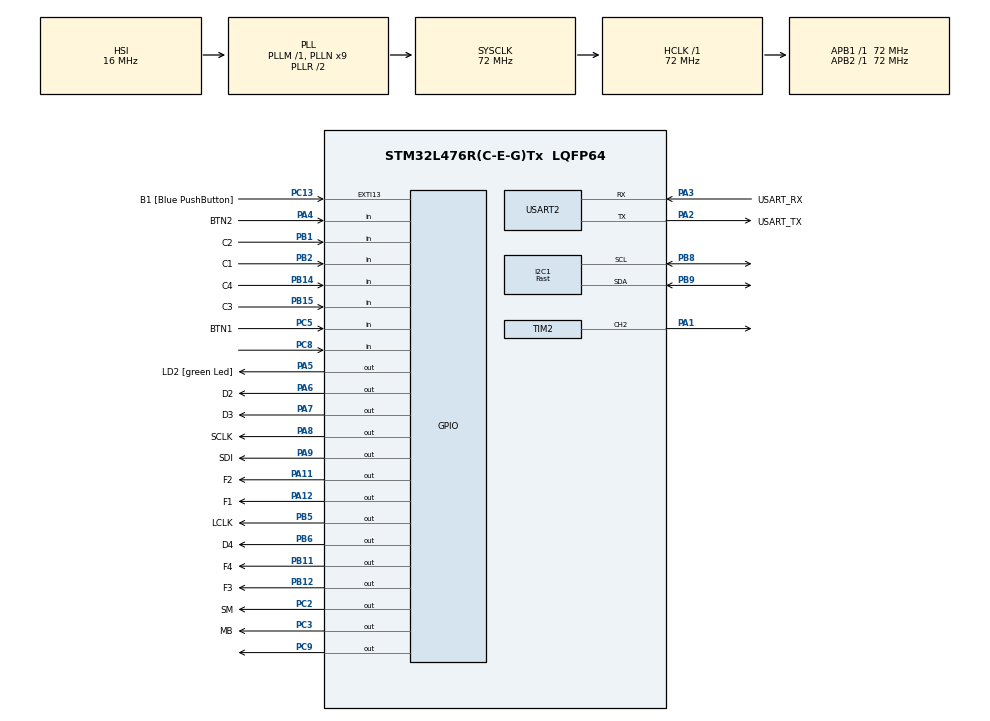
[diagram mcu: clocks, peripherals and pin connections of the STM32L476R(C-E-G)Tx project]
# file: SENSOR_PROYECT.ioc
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I2C1.I2C_Speed_Mode=I2C_Fast
I2C1.Timing=0x00702681
Mcu.Family=STM32L4
Mcu.Name=STM32L476R(C-E-G)Tx
Mcu.Package=LQFP64
NVIC.PriorityGroup=NVIC_PRIORITYGROUP_4
NVIC.TIM2_IRQn=true\:0\:0\:false\:false\:true\:true\:true\:true
NVIC.TIM4_IRQn=true\:0\:0\:false\:false\:true\:true\:true\:true
PA1.Signal=S_TIM2_CH2
PA11.GPIO_Label=F2
PA11.Signal=GPIO_Output
PA12.GPIO_Label=F1
PA12.Signal=GPIO_Output
PA13\ (JTMS-SWDIO).GPIO_Label=TMS
PA13\ (JTMS-SWDIO).Mode=Serial_Wire
PA13\ (JTMS-SWDIO).Signal=SYS_JTMS-SWDIO
PA14\ (JTCK-SWCLK).GPIO_Label=TCK
PA14\ (JTCK-SWCLK).Mode=Serial_Wire
PA14\ (JTCK-SWCLK).Signal=SYS_JTCK-SWCLK
PA2.GPIO_Label=USART_TX
PA2.GPIO_Mode=GPIO_MODE_AF_PP
PA2.GPIO_PuPd=GPIO_NOPULL
PA2.GPIO_Speed=GPIO_SPEED_FREQ_VERY_HIGH
PA2.Mode=Asynchronous
PA2.Signal=USART2_TX
PA3.GPIO_Label=USART_RX
PA3.GPIO_Mode=GPIO_MODE_AF_PP
PA3.GPIO_PuPd=GPIO_NOPULL
PA3.GPIO_Speed=GPIO_SPEED_FREQ_VERY_HIGH
PA3.Mode=Asynchronous
PA3.Signal=USART2_RX
PA4.GPIO_Label=BTN2
PA4.Signal=GPIO_Input
PA5.GPIO_Label=LD2 [green Led]
PA5.GPIO_ModeDefaultOutputPP=GPIO_MODE_OUTPUT_PP
PA5.GPIO_PuPd=GPIO_NOPULL
PA5.GPIO_Speed=GPIO_SPEED_FREQ_LOW
PA5.Signal=GPIO_Output
PA6.GPIO_Label=D2
PA6.Signal=GPIO_Output
PA7.GPIO_Label=D3
PA7.Signal=GPIO_Output
PA8.GPIO_Label=SCLK
PA8.Signal=GPIO_Output
PA9.GPIO_Label=SDI
PA9.Signal=GPIO_Output
PB1.GPIO_Label=C2
PB1.GPIO_PuPd=GPIO_PULLUP
PB1.Signal=GPIO_Input
PB11.GPIO_Label=F4
PB11.Signal=GPIO_Output
PB12.GPIO_Label=F3
PB12.Signal=GPIO_Output
PB14.GPIO_Label=C4
PB14.GPIO_PuPd=GPIO_PULLUP
PB14.Signal=GPIO_Input
PB15.GPIO_Label=C3
PB15.GPIO_PuPd=GPIO_PULLUP
PB15.Signal=GPIO_Input
PB2.GPIO_Label=C1
PB2.GPIO_PuPd=GPIO_PULLUP
PB2.Signal=GPIO_Input
PB3\ (JTDO-TRACESWO).GPIO_Label=SWO
PB3\ (JTDO-TRACESWO).Signal=SYS_JTDO-SWO
PB5.GPIO_Label=LCLK
PB5.Signal=GPIO_Output
PB6.GPIO_Label=D4
PB6.Signal=GPIO_Output
PB8.Mode=I2C
PB8.Signal=I2C1_SCL
PB9.Mode=I2C
PB9.Signal=I2C1_SDA
PC13.GPIO_Label=B1 [Blue PushButton]
PC13.GPIO_ModeDefaultEXTI=GPIO_MODE_IT_FALLING
PC13.GPIO_PuPd=GPIO_NOPULL
PC13.Signal=GPXTI13
PC14-OSC32_IN\ (PC14).Signal=RCC_OSC32_IN
PC15-OSC32_OUT\ (PC15).Signal=RCC_OSC32_OUT
PC2.GPIO_Label=SM
PC2.Signal=GPIO_Output
PC3.GPIO_Label=MB
PC3.Signal=GPIO_Output
PC5.GPIO_Label=BTN1
PC5.Signal=GPIO_Input
PC8.Signal=GPIO_Input
PC9.Signal=GPIO_Output
PH0-OSC_IN\ (PH0).Mode=HSE-External-Oscillator
PH0-OSC_IN\ (PH0).Signal=RCC_OSC_IN
PH1-OSC_OUT\ (PH1).Mode=HSE-External-Oscillator
PH1-OSC_OUT\ (PH1).Signal=RCC_OSC_OUT
ProjectManager.HeapSize=0x200
ProjectManager.StackSize=0x400
ProjectManager.TargetToolchain=STM32CubeIDE
RCC.ADCFreq_Value=64000000
RCC.AHBFreq_Value=72000000
RCC.APB1Freq_Value=72000000
RCC.APB1TimFreq_Value=72000000
RCC.APB2Freq_Value=72000000
RCC.APB2TimFreq_Value=72000000
RCC.CortexFreq_Value=72000000
RCC.HCLKFreq_Value=72000000
RCC.HSE_VALUE=8000000
RCC.HSI_VALUE=16000000
RCC.LSE_VALUE=32768
RCC.MSI_VALUE=4000000
RCC.PLLN=9
RCC.PLLSourceVirtual=RCC_PLLSOURCE_HSI
RCC.PREFETCH_ENABLE=1
RCC.SYSCLKFreq_VALUE=72000000
RCC.SYSCLKSource=RCC_SYSCLKSOURCE_PLLCLK
RCC.USBFreq_Value=64000000
RCC.VCOOutputFreq_Value=144000000
SH.S_TIM2_CH2.0=TIM2_CH2,PWM Generation2 CH2
TIM1.Prescaler=71
TIM2.Channel-PWM\ Generation2\ CH2=TIM_CHANNEL_2
TIM2.Period=625
TIM2.Prescaler=127
USART2.VirtualMode-Asynchronous=VM_ASYNC
VP_TIM1_VS_ClockSourceINT.Mode=Internal
VP_TIM2_VS_ClockSourceINT.Mode=Internal
VP_TIM4_VS_ClockSourceINT.Mode=Internal
board=NUCLEO-L476RG

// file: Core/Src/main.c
/* USER CODE BEGIN Header */
/**
 ******************************************************************************
 * @file           : main.c
 * @brief          : Main program body
 ******************************************************************************
 * @attention
 *
 * Copyright (c) 2022 STMicroelectronics.
 * All rights reserved.
 *
 * This software is licensed under terms that can be found in the LICENSE file
 * in the root directory of this software component.
 * If no LICENSE file comes with this software, it is provided AS-IS.
 *
 ******************************************************************************
 */
/* USER CODE END Header */
#include "main.h"

/* USER CODE BEGIN Includes */
#include "fonts.h"
#include "ssd1306.h"
#include "stdio.h"
#include <stdbool.h>
#include <string.h>
#include "bitmap.h"
/* USER CODE END Includes */

I2C_HandleTypeDef hi2c1;

TIM_HandleTypeDef htim1;
TIM_HandleTypeDef htim2;
TIM_HandleTypeDef htim4;

UART_HandleTypeDef huart2;

/* USER CODE BEGIN PV */
#define TRIG_PIN GPIO_PIN_9
#define TRIG_PORT GPIOC
#define ECHO_PIN GPIO_PIN_8
#define ECHO_PORT GPIOC
#define pin_led GPIO_PIN_1
#define pin_ledport GPIOA
uint32_t pMillis;
uint32_t Value1 = 0;
uint32_t Value2 = 0;
uint16_t Distance = 0;  // cm

const uint8_t numLecturas = 10;
uint8_t lecturas[10]; // Array para almacenar lecturas

// Distancia a los 100 ml y vacío
const uint16_t distancia100 = 2.15;
const uint16_t distanciaVacio = 11.41;

uint16_t distanciaLleno = 0;
uint16_t cantidadLiquido = 0;
int porcentaje = 0;
uint16_t lecturaActual = 0; // Lectura por la que vamos
uint16_t total = 0; // Total de las que llevamos
uint16_t media = 0; // Media de las medidas
uint32_t DETECTAR_LIM = 0;
bool primeraMedia = false; // Para saber que ya hemos calculado por lo menos una

char strCopy[15];

const uint8_t seven_seg_digits_decode_abcdefg[75] = {
/*  0     1     2     3     4     5     6     7     8     9     :     ;     */
0x7E, 0x30, 0x6D, 0x79, 0x33, 0x5B, 0x5F, 0x70, 0x7F, 0x7B, 0x40, 0x20,
/*  <     =     >     ?     @     A     B     C     D     E     F     G     */
0x10, 0x00, 0x04, 0x02, 0x01, 0x77, 0x1F, 0x4E, 0x3D, 0x4F, 0x47, 0x5E,
/*  H     I     J     K     L     M     N     O     P     Q     R     S     */
0x37, 0x06, 0x3C, 0x57, 0x0E, 0x55, 0x15, 0x7E, 0x67, 0x73, 0x05, 0x5B,
/*  T     U     V     W     X     Y     Z     [     \     ]     ^     _     */
0x0F, 0x3E, 0x1C, 0x5C, 0x13, 0x3B, 0x6D, 0x02, 0x04, 0x08, 0x10, 0x20,
/*  `     a     b     c     d     e     f     g     h     i     j     k     */
0x40, 0x77, 0x1F, 0x4E, 0x3D, 0x4F, 0x47, 0x5E, 0x37, 0x06, 0x3C, 0x57,
/*  l     m     n     o     p     q     r     s     t     u     v     w     */
0x0E, 0x55, 0x15, 0x1D, 0x67, 0x73, 0x05, 0x5B, 0x0F, 0x3E, 0x1C, 0x5C,
/*  x     y     z     */
0x13, 0x3B, 0x6D };

/* USER CODE END PV */

void SystemClock_Config(void);
static void MX_GPIO_Init(void);
static void MX_I2C1_Init(void);
static void MX_TIM1_Init(void);
static void MX_TIM2_Init(void);
static void MX_USART2_UART_Init(void);
static void MX_TIM4_Init(void);
/* USER CODE BEGIN PFP */
void Write_D4_FSM(uint32_t current_tick, uint32_t wait, uint8_t *Msg);
void Write_ASCII_D4(uint8_t letter, uint8_t Digit, const uint8_t *Data);

/* USER CODE END PFP */

/* USER CODE BEGIN 0 */
static uint32_t Confirmar_lectura = 0;
static uint32_t DETECTAR_CLICK = 0;
static uint32_t DETECTAR_CLICK2 = 0;
char KeyPad_Read(void) {

	static uint8_t Char;
	static uint32_t cont = 0;
	static uint32_t lastTick = 0;
	if (HAL_GetTick() - lastTick > 700) {
		HAL_GPIO_WritePin(F1_GPIO_Port, F1_Pin, GPIO_PIN_RESET);
		HAL_GPIO_WritePin(F2_GPIO_Port, F2_Pin, GPIO_PIN_SET);
		HAL_GPIO_WritePin(F3_GPIO_Port, F3_Pin, GPIO_PIN_SET);
		HAL_GPIO_WritePin(F4_GPIO_Port, F4_Pin, GPIO_PIN_SET);

		if (!(HAL_GPIO_ReadPin(C1_GPIO_Port, C1_Pin))) {
			if (!(HAL_GPIO_ReadPin(C1_GPIO_Port, C1_Pin)))
				;
			Confirmar_lectura = 1;
			Char = '1';
		} else {
			cont = cont + 1;
		}

		if (!(HAL_GPIO_ReadPin(C2_GPIO_Port, C2_Pin))) {
			if (!(HAL_GPIO_ReadPin(C2_GPIO_Port, C2_Pin)))
				;
			Confirmar_lectura = 1;
			Char = '2';
		} else {
			cont = cont + 1;
		}

		if (!(HAL_GPIO_ReadPin(C3_GPIO_Port, C3_Pin))) {
			if (!(HAL_GPIO_ReadPin(C3_GPIO_Port, C3_Pin)))
				;
			Confirmar_lectura = 1;
			Char = '3';
		} else {
			cont = cont + 1;
		}

		if (!(HAL_GPIO_ReadPin(C4_GPIO_Port, C4_Pin))) {
			if (!(HAL_GPIO_ReadPin(C4_GPIO_Port, C4_Pin)))
				;
			Confirmar_lectura = 1;
			Char = 'A';
		} else {
			cont = cont + 1;
		}

		//--------------------------------------------------------------
		HAL_GPIO_WritePin(F1_GPIO_Port, F1_Pin, GPIO_PIN_SET);
		HAL_GPIO_WritePin(F2_GPIO_Port, F2_Pin, GPIO_PIN_RESET);
		HAL_GPIO_WritePin(F3_GPIO_Port, F3_Pin, GPIO_PIN_SET);
		HAL_GPIO_WritePin(F4_GPIO_Port, F4_Pin, GPIO_PIN_SET);

		if (!(HAL_GPIO_ReadPin(C1_GPIO_Port, C1_Pin))) {
			if (!(HAL_GPIO_ReadPin(C1_GPIO_Port, C1_Pin)))
				;
			Confirmar_lectura = 1;
			Char = '4';
		} else {
			cont = cont + 1;
		}

		if (!(HAL_GPIO_ReadPin(C2_GPIO_Port, C2_Pin))) {
			if (!(HAL_GPIO_ReadPin(C2_GPIO_Port, C2_Pin)))
				;
			Confirmar_lectura = 1;
			Char = '5';
		} else {
			cont = cont + 1;
		}

		if (!(HAL_GPIO_ReadPin(C3_GPIO_Port, C3_Pin))) {
			if (!(HAL_GPIO_ReadPin(C3_GPIO_Port, C3_Pin)))
				;
			Char = '6';
		} else {
			cont = cont + 1;
		}

		if (!(HAL_GPIO_ReadPin(C4_GPIO_Port, C4_Pin))) {
			if (!(HAL_GPIO_ReadPin(C4_GPIO_Port, C4_Pin)))
				;
			Confirmar_lectura = 1;
			Char = 'B';
		} else {

			cont = cont + 1;
		}
		//--------------------------------------------------------------
		HAL_GPIO_WritePin(F1_GPIO_Port, F1_Pin, GPIO_PIN_SET);
		HAL_GPIO_WritePin(F2_GPIO_Port, F2_Pin, GPIO_PIN_SET);
		HAL_GPIO_WritePin(F3_GPIO_Port, F3_Pin, GPIO_PIN_RESET);
		HAL_GPIO_WritePin(F4_GPIO_Port, F4_Pin, GPIO_PIN_SET);

		if (!(HAL_GPIO_ReadPin(C1_GPIO_Port, C1_Pin))) {
			if (!(HAL_GPIO_ReadPin(C1_GPIO_Port, C1_Pin)))
				;
			Confirmar_lectura = 1;
			Char = '7';
		} else {
			cont = cont + 1;
		}

		if (!(HAL_GPIO_ReadPin(C2_GPIO_Port, C2_Pin))) {
			if (!(HAL_GPIO_ReadPin(C2_GPIO_Port, C2_Pin)))
				;
			Confirmar_lectura = 1;
			Char = '8';
		} else {
			cont = cont + 1;
		}

		if (!(HAL_GPIO_ReadPin(C3_GPIO_Port, C3_Pin))) {
			if (!(HAL_GPIO_ReadPin(C3_GPIO_Port, C3_Pin)))
				;
			Confirmar_lectura = 1;
			Char = '9';
		} else {
			cont = cont + 1;
		}

		if (!(HAL_GPIO_ReadPin(C4_GPIO_Port, C4_Pin))) {
			if (!(HAL_GPIO_ReadPin(C4_GPIO_Port, C4_Pin)))
				;
			Confirmar_lectura = 1;
			Char = 'C';
		} else {

			cont = cont + 1;
		}

		//--------------------------------------------------------------
		HAL_GPIO_WritePin(F1_GPIO_Port, F1_Pin, GPIO_PIN_SET);
		HAL_GPIO_WritePin(F2_GPIO_Port, F2_Pin, GPIO_PIN_SET);
		HAL_GPIO_WritePin(F3_GPIO_Port, F3_Pin, GPIO_PIN_SET);
		HAL_GPIO_WritePin(F4_GPIO_Port, F4_Pin, GPIO_PIN_RESET);

		if (!(HAL_GPIO_ReadPin(C1_GPIO_Port, C1_Pin))) {
			if (!(HAL_GPIO_ReadPin(C1_GPIO_Port, C1_Pin)))
				;
			Confirmar_lectura = 1;
			Char = 'E';
		} else {
			cont = cont + 1;
		}

		if (!(HAL_GPIO_ReadPin(C2_GPIO_Port, C2_Pin))) {
			if (!(HAL_GPIO_ReadPin(C2_GPIO_Port, C2_Pin)))
				;
			Confirmar_lectura = 1;
			Char = '0';
		} else {
			cont = cont + 1;
		}

		if (!(HAL_GPIO_ReadPin(C3_GPIO_Port, C3_Pin))) {
			if (!(HAL_GPIO_ReadPin(C3_GPIO_Port, C3_Pin)))
				;
			Confirmar_lectura = 1;
			Char = 'H';
		} else {
			cont = cont + 1;
		}

		if (!(HAL_GPIO_ReadPin(C4_GPIO_Port, C4_Pin))) {
			if (!(HAL_GPIO_ReadPin(C4_GPIO_Port, C4_Pin)))
				;
			Confirmar_lectura = 1;
			Char = 'D';
		} else {
			cont = cont + 1;
		}
		if (cont == 16) {
			cont = 0;
			if (Confirmar_lectura == 1) {
				Confirmar_lectura = 0;
				return Char;
			}
		} else {
			cont = 0;
		}
	}

	return 'G';
}
uint8_t msg[5] = "====";
uint8_t msg3[5] = "====";
uint8_t ContraCifrada[5] = "====";
uint8_t Contra[5] = "0000";
static uint32_t Estados = 2;
void LECTURA_BTN(void)

{

	static uint32_t VARIABLE_COMPROBAR_CLICK = 0; // VARIABLE PARA IMPLEMENTAR MAQUINA DE ESTADOS CON EL BOTON
	// LECTURA DEL PIN DEL BOTON LOGICA INVERSA
	uint32_t LECTURA_PUERTO_BOTON = HAL_GPIO_ReadPin(BTN1_GPIO_Port, BTN1_Pin); // LEEMOS TODO EL PUERTO C QUE ES EL DEL BOTON

	// EVALUAMOS CONDICIONES
	if (LECTURA_PUERTO_BOTON != 0) {

		// EVALUO SI YA HABIA SIDO PRESIONADO
		if (VARIABLE_COMPROBAR_CLICK == 1) {
			// SI FUE PRESIONADO PONGO LA VARIABLE DE ESTADO EN CERO PARA INDICAR QUE YA SE EJECUTO LA ACCION DESEADA
			VARIABLE_COMPROBAR_CLICK = 0;
			DETECTAR_CLICK = 1; // REVISO EL TIEMPO ACTUAL PARA COMPARAR DESDE EL TIEMPO EN QUE SE PRESIONO

		}
	} else {
		// COMPROBAMOS EL PRIMER CLICK
		if (VARIABLE_COMPROBAR_CLICK == 0) {
			VARIABLE_COMPROBAR_CLICK = 1; // CAMBIO EL VALOR DE LA VARIABLE DE ESTADO A UNO PARA INDICAR QUE SE PRESIONO
		}
		//LL_GPIO_SetOutputPin(LED2_GPIO_PORT, LED2_PIN);

	}

}
void LECTURA_BTN2(void)

{

	static uint32_t VARIABLE_COMPROBAR_CLICK = 0; // VARIABLE PARA IMPLEMENTAR MAQUINA DE ESTADOS CON EL BOTON
	// LECTURA DEL PIN DEL BOTON LOGICA INVERSA
	uint32_t LECTURA_PUERTO_BOTON = HAL_GPIO_ReadPin(BTN2_GPIO_Port, BTN2_Pin); // LEEMOS TODO EL PUERTO C QUE ES EL DEL BOTON

	// EVALUAMOS CONDICIONES
	if (LECTURA_PUERTO_BOTON != 0) {

		// EVALUO SI YA HABIA SIDO PRESIONADO
		if (VARIABLE_COMPROBAR_CLICK == 1) {
			// SI FUE PRESIONADO PONGO LA VARIABLE DE ESTADO EN CERO PARA INDICAR QUE YA SE EJECUTO LA ACCION DESEADA
			VARIABLE_COMPROBAR_CLICK = 0;
			DETECTAR_CLICK2 = 1; // REVISO EL TIEMPO ACTUAL PARA COMPARAR DESDE EL TIEMPO EN QUE SE PRESIONO

		}
	} else {
		// COMPROBAMOS EL PRIMER CLICK
		if (VARIABLE_COMPROBAR_CLICK == 0) {
			VARIABLE_COMPROBAR_CLICK = 1; // CAMBIO EL VALOR DE LA VARIABLE DE ESTADO A UNO PARA INDICAR QUE SE PRESIONO
		}
		//LL_GPIO_SetOutputPin(LED2_GPIO_PORT, LED2_PIN);

	}

}
void Write_D4_FSM(uint32_t current_tick, uint32_t wait, uint8_t *Msg) {
	static uint32_t last_tick = 0;
	static uint32_t state = 0, next_state = 0;

	static uint8_t i = 0;

	if (current_tick - last_tick > wait) {
		if (state == 0) {
			Write_ASCII_D4((Msg[i] - 0x30), 4, seven_seg_digits_decode_abcdefg);
			next_state = state + 1;
		}
		if (state == 1) {
			Write_ASCII_D4((Msg[i + 1] - 0x30), 3,
					seven_seg_digits_decode_abcdefg);
			next_state = state + 1;
		}
		if (state == 2) {
			Write_ASCII_D4(Msg[i + 2] - 0x30, 2,
					seven_seg_digits_decode_abcdefg);
			next_state = state + 1;
		}
		if (state == 3) {
			Write_ASCII_D4(Msg[i + 3] - 0x30, 1,
					seven_seg_digits_decode_abcdefg);
			next_state = 0;
		}
		state = next_state;
		last_tick = current_tick;
	}
}

void Write_ASCII_D4(uint8_t letter, uint8_t Digit, const uint8_t *Data) {

	//	static uint32_t  last_tick = 0;
	//	static uint32_t state = 0, next_state = 4;
	//	static uint8_t letter = 0;

	//	if (  current_tick - last_tick > wait){

	//  LCLK (PB5) -
	HAL_GPIO_WritePin(LCLK_GPIO_Port, LCLK_Pin, GPIO_PIN_RESET);

	// SCLK (PA8) - 16 clock cycles
	HAL_GPIO_WritePin(SCLK_GPIO_Port, SCLK_Pin, GPIO_PIN_RESET);
	// Dot is set to turn it off
	HAL_GPIO_WritePin(SDI_GPIO_Port, SDI_Pin, GPIO_PIN_SET);
	HAL_GPIO_TogglePin(SCLK_GPIO_Port, SCLK_Pin);
	HAL_GPIO_TogglePin(SCLK_GPIO_Port, SCLK_Pin);
	for (int i = 0; i < 7; i++) {
		// SDI (PA9) - set
		HAL_GPIO_WritePin(SDI_GPIO_Port, SDI_Pin, ~(Data[letter] >> i) & (1));
		HAL_GPIO_TogglePin(SCLK_GPIO_Port, SCLK_Pin);
		HAL_GPIO_TogglePin(SCLK_GPIO_Port, SCLK_Pin);
	}

	// All the displays are enable
	HAL_GPIO_WritePin(SDI_GPIO_Port, SDI_Pin, GPIO_PIN_RESET);
	for (int i = 0; i < 8; i++) {
		if (i == Digit + 3) {
			HAL_GPIO_WritePin(SDI_GPIO_Port, SDI_Pin, GPIO_PIN_SET);
		} else {
			HAL_GPIO_WritePin(SDI_GPIO_Port, SDI_Pin, GPIO_PIN_RESET);
		}
		HAL_GPIO_TogglePin(SCLK_GPIO_Port, SCLK_Pin);
		HAL_GPIO_TogglePin(SCLK_GPIO_Port, SCLK_Pin);
	};
	//  LCLK (PB5) -
	HAL_GPIO_WritePin(LCLK_GPIO_Port, LCLK_Pin, GPIO_PIN_SET);
	//		letter++;
	//		if (letter > 74)
	//			letter = 0;
	//		last_tick = current_tick;
	//	}
}

void servo(uint8_t angul0)
{

uint16_t period = (1.0/90*angul0 + 0.5)*1000;

htim4.Init.Prescaler = 32;
HAL_TIM_Base_Init(&htim4);

for (int i = 0; i < 30; ++i) {

__HAL_TIM_SET_COUNTER(&htim4,0);
HAL_TIM_Base_Start(&htim4);
HAL_GPIO_WritePin(SM_GPIO_Port, SM_Pin, GPIO_PIN_SET); // Pin Motor

while(__HAL_TIM_GET_COUNTER(&htim4) < period);
HAL_GPIO_WritePin(SM_GPIO_Port, SM_Pin, GPIO_PIN_RESET); // Pin Motor

HAL_TIM_Base_Stop(&htim4);
__HAL_TIM_SET_COUNTER(&htim4,0);
HAL_TIM_Base_Start(&htim4);

while(__HAL_TIM_GET_COUNTER(&htim4) < 20000-period);
}

}

/* USER CODE END 0 */

int main(void)
{
  /* USER CODE BEGIN 1 */
	static uint8_t keychar;
	static uint32_t current_tick;
	static uint8_t i = 0;
	static uint32_t last_tick = 0;
	static uint32_t last_tick2 = 0;
	static uint8_t tick = 0;
	static uint32_t tiempo_espera = 10000;
	static uint32_t intentos = 1;
  /* USER CODE END 1 */

  /* MCU Configuration--------------------------------------------------------*/

  /* Reset of all peripherals, Initializes the Flash interface and the Systick. */
  HAL_Init();

  /* Configure the system clock */
  SystemClock_Config();

  /* Initialize all configured peripherals */
  MX_GPIO_Init();
  MX_I2C1_Init();
  MX_TIM1_Init();
  MX_TIM2_Init();
  MX_USART2_UART_Init();
  MX_TIM4_Init();
  /* USER CODE BEGIN 2 */

	SSD1306_Clear();
	HAL_TIM_Base_Start(&htim1);
	HAL_GPIO_WritePin(D4_GPIO_Port, D4_Pin, GPIO_PIN_SET);
	HAL_GPIO_WritePin(D2_GPIO_Port, D2_Pin, GPIO_PIN_SET);
	HAL_GPIO_WritePin(D3_GPIO_Port, D3_Pin, GPIO_PIN_SET);
	HAL_GPIO_WritePin(MB_GPIO_Port, MB_Pin, GPIO_PIN_SET);
	HAL_GPIO_WritePin(TRIG_PORT, TRIG_PIN, GPIO_PIN_RESET); // pull the TRIG pin low
	SSD1306_DrawBitmap(0, 0, logo, 128, 64, 1);
	SSD1306_UpdateScreen();
	HAL_TIM_PWM_Start(&htim2, TIM_CHANNEL_2);
	HAL_Delay(2000);
	SSD1306_Clear();

  /* USER CODE END 2 */

  /* Infinite loop */
  /* USER CODE BEGIN WHILE */
	while (1) {
		HAL_GPIO_WritePin(pin_ledport, pin_led, SET);

		HAL_GPIO_WritePin(TRIG_PORT, TRIG_PIN, GPIO_PIN_SET); // pull the TRIG pin HIGH
		__HAL_TIM_SET_COUNTER(&htim1, 0);
		while (__HAL_TIM_GET_COUNTER (&htim1) < 10)
			;  // wait for 10 us
		HAL_GPIO_WritePin(TRIG_PORT, TRIG_PIN, GPIO_PIN_RESET); // pull the TRIG pin low

		pMillis = HAL_GetTick(); // used this to avoid infinite while loop  (for timeout)
		// wait for the echo pin to go high
		while (!(HAL_GPIO_ReadPin(ECHO_PORT, ECHO_PIN))
				&& pMillis + 10 > HAL_GetTick())
			;
		Value1 = __HAL_TIM_GET_COUNTER(&htim1);

		pMillis = HAL_GetTick(); // used this to avoid infinite while loop (for timeout)
		// wait for the echo pin to go low
		while ((HAL_GPIO_ReadPin(ECHO_PORT, ECHO_PIN))
				&& pMillis + 50 > HAL_GetTick())
			;
		Value2 = __HAL_TIM_GET_COUNTER(&htim1);

		Distance = (Value2 - Value1) * 0.034 / 2;

		// Calculamos la media

//		    float distanciaLleno = distanciaVacio - Distance;
//		    float cantidadLiquido = distanciaLleno * 100 / distancia100;
//		    int porcentaje = (int) (distanciaLleno * 100 / distanciaVacio);

		SSD1306_GotoXY(0, 0);
		SSD1306_Puts("Dist: (Cm)", &Font_11x18, 1);
		sprintf(strCopy, "%d    ", Distance);
		SSD1306_GotoXY(0, 30);
		SSD1306_Puts(strCopy, &Font_16x26, 1);
		SSD1306_UpdateScreen();
		HAL_Delay(50);

		if (Distance > 10) {
				DETECTAR_LIM = 1;
			}
		if (Distance  <4) {
			DETECTAR_LIM = 0;
		}
		if (DETECTAR_LIM == 1) {

			HAL_GPIO_WritePin(MB_GPIO_Port, MB_Pin, GPIO_PIN_RESET);

		} else {
			HAL_GPIO_WritePin(MB_GPIO_Port, MB_Pin, GPIO_PIN_SET);
		}

//		LEYENDO LA CONTRASEÑA
		current_tick = HAL_GetTick();

			if (current_tick - last_tick >= 250) {
				last_tick = current_tick;
				HAL_GPIO_TogglePin(LD2_GPIO_Port, LD2_Pin);
			}

			current_tick = HAL_GetTick();	//LEEMOS EL TIEMPOR ACTUAL

			if (Estados == 2) {
				// ESTADO DONDE LEEMOS LA CONTRASEÑA
				keychar = KeyPad_Read(); /// LEEMOS LA SECUENCIA DE LOS DATOS
				if (keychar != 'G') {
					msg[i] = keychar;
					i++;
					Write_D4_FSM(current_tick, 1, msg);
					if (i > 3) {

						i = 0;

						if (!strncmp(msg, Contra, 4)) {
							HAL_GPIO_WritePin(D2_GPIO_Port, D2_Pin, GPIO_PIN_RESET);
							HAL_GPIO_WritePin(D3_GPIO_Port, D3_Pin, GPIO_PIN_SET);
							tick = 0;
							intentos = 1; // REINICIAMOS EL TIEMPO DE ESPERA AL MINIMO.
							Estados = 4; // VAMOS AL ESTADO DE ABIERTO, EN EL CUAL PROCEDEMOS A LEER EL BOTON 2 PARA CERRAR LA CAJA.
							servo(180);
						} else {
							tick++; // SUMA LOS INTENTOS ERRADOS
							HAL_GPIO_WritePin(D3_GPIO_Port, D3_Pin, GPIO_PIN_RESET);
							HAL_GPIO_WritePin(D2_GPIO_Port, D2_Pin, GPIO_PIN_SET);
							if (tick == 3) {
								last_tick2 = last_tick;
								tick = 0;
								HAL_GPIO_WritePin(D2_GPIO_Port, D2_Pin,
										GPIO_PIN_RESET);
								HAL_GPIO_WritePin(D3_GPIO_Port, D3_Pin,
										GPIO_PIN_RESET);
								Estados = 3; // ESTADO DE BLOQUEADO

							}
						}
						strcpy(msg, msg3); //Lo que hay en apellido se copia a nombre;

					}

				}
				Write_D4_FSM(current_tick, 1, msg);

			}

			if (Estados == 1) {

				keychar = KeyPad_Read(); /// LEEMOS LA SECUENCIA DE LOS DATOS
				if (keychar != 'G') {
					Contra[i] = keychar;
					ContraCifrada[i] = ']';
					i++;
					Write_D4_FSM(current_tick, 1, ContraCifrada);
					if (i > 3) {

						strcpy(ContraCifrada, msg3);
						i = 0;
						Estados = 4; // LA PUERTA SIGUE ABIERTA
						HAL_GPIO_WritePin(D4_GPIO_Port, D4_Pin, GPIO_PIN_SET);
					}

				}
				Write_D4_FSM(current_tick, 1, ContraCifrada);

			}
			// ESTADO PARA RETENER DEBIDO A INTENTOS FALLIDOS

			if (Estados == 3) {

				Write_D4_FSM(HAL_GetTick(), 1, "FAIL");

				if (HAL_GetTick() - last_tick2 == tiempo_espera * intentos) {

					if (intentos < 4) {
						intentos++; // EL TIEMPO MAXIMO DE ESPERA SERA DE 40 SEGUNDOS
					}
					Estados = 2; // VOLVER AL ESTADO INICIAL
					HAL_GPIO_WritePin(D2_GPIO_Port, D2_Pin, GPIO_PIN_SET);
					HAL_GPIO_WritePin(D3_GPIO_Port, D3_Pin, GPIO_PIN_SET);
				}
			}
			if (Estados == 4) {

				Write_D4_FSM(HAL_GetTick(), 1, "OPEN");
				LECTURA_BTN2(); // LEEMOS EL BOTON1. PARA SABER SI QUEREMOS CAMBIAR CONTRASEÑA
				if (DETECTAR_CLICK2 == 1) {
					DETECTAR_CLICK2 = 0;
					Estados = 2; // CERRRAMOS LA PUERTA
					HAL_GPIO_WritePin(D3_GPIO_Port, D3_Pin, GPIO_PIN_SET);
					HAL_GPIO_WritePin(D2_GPIO_Port, D2_Pin, GPIO_PIN_SET);
					HAL_GPIO_WritePin(D4_GPIO_Port, D4_Pin, GPIO_PIN_SET);
					servo(0);
				}
				LECTURA_BTN(); // LEEMOS EL BOTON1. PARA SABER SI QUEREMOS CAMBIAR CONTRASEÑA
				if (DETECTAR_CLICK == 1) {
					DETECTAR_CLICK = 0;
					Estados = 1; // NOS VAMOS A CAMBIAR CONTRASEÑA UNA VEZ SI PUDO ABRIR LA COMPUERTA.
					HAL_GPIO_WritePin(D3_GPIO_Port, D3_Pin, GPIO_PIN_SET);
					HAL_GPIO_WritePin(D2_GPIO_Port, D2_Pin, GPIO_PIN_SET);
					HAL_GPIO_WritePin(D4_GPIO_Port, D4_Pin, GPIO_PIN_RESET);
				}

			}

	}

//		if (Distance < 10)
//			HAL_GPIO_WritePin(pin_ledport, pin_led, RESET);
//		else
//			HAL_GPIO_WritePin(pin_ledport, pin_led, SET);

    /* USER CODE END WHILE */

}

void SystemClock_Config(void)
{
  RCC_OscInitTypeDef RCC_OscInitStruct = {0};
  RCC_ClkInitTypeDef RCC_ClkInitStruct = {0};

  /** Configure the main internal regulator output voltage
  */
  if (HAL_PWREx_ControlVoltageScaling(PWR_REGULATOR_VOLTAGE_SCALE1) != HAL_OK)
  {
    Error_Handler();
  }

  /** Initializes the RCC Oscillators according to the specified parameters
  * in the RCC_OscInitTypeDef structure.
  */
  RCC_OscInitStruct.OscillatorType = RCC_OSCILLATORTYPE_HSI;
  RCC_OscInitStruct.HSIState = RCC_HSI_ON;
  RCC_OscInitStruct.HSICalibrationValue = RCC_HSICALIBRATION_DEFAULT;
  RCC_OscInitStruct.PLL.PLLState = RCC_PLL_ON;
  RCC_OscInitStruct.PLL.PLLSource = RCC_PLLSOURCE_HSI;
  RCC_OscInitStruct.PLL.PLLM = 1;
  RCC_OscInitStruct.PLL.PLLN = 9;
  RCC_OscInitStruct.PLL.PLLP = RCC_PLLP_DIV7;
  RCC_OscInitStruct.PLL.PLLQ = RCC_PLLQ_DIV2;
  RCC_OscInitStruct.PLL.PLLR = RCC_PLLR_DIV2;
  if (HAL_RCC_OscConfig(&RCC_OscInitStruct) != HAL_OK)
  {
    Error_Handler();
  }

  /** Initializes the CPU, AHB and APB buses clocks
  */
  RCC_ClkInitStruct.ClockType = RCC_CLOCKTYPE_HCLK|RCC_CLOCKTYPE_SYSCLK
                              |RCC_CLOCKTYPE_PCLK1|RCC_CLOCKTYPE_PCLK2;
  RCC_ClkInitStruct.SYSCLKSource = RCC_SYSCLKSOURCE_PLLCLK;
  RCC_ClkInitStruct.AHBCLKDivider = RCC_SYSCLK_DIV1;
  RCC_ClkInitStruct.APB1CLKDivider = RCC_HCLK_DIV1;
  RCC_ClkInitStruct.APB2CLKDivider = RCC_HCLK_DIV1;

  if (HAL_RCC_ClockConfig(&RCC_ClkInitStruct, FLASH_LATENCY_4) != HAL_OK)
  {
    Error_Handler();
  }
}

static void MX_I2C1_Init(void)
{

  hi2c1.Instance = I2C1;
  hi2c1.Init.Timing = 0x00702681;
  hi2c1.Init.OwnAddress1 = 0;
  hi2c1.Init.AddressingMode = I2C_ADDRESSINGMODE_7BIT;
  hi2c1.Init.DualAddressMode = I2C_DUALADDRESS_DISABLE;
  hi2c1.Init.OwnAddress2 = 0;
  hi2c1.Init.OwnAddress2Masks = I2C_OA2_NOMASK;
  hi2c1.Init.GeneralCallMode = I2C_GENERALCALL_DISABLE;
  hi2c1.Init.NoStretchMode = I2C_NOSTRETCH_DISABLE;
  if (HAL_I2C_Init(&hi2c1) != HAL_OK)
  {
    Error_Handler();
  }

  /** Configure Analogue filter
  */
  if (HAL_I2CEx_ConfigAnalogFilter(&hi2c1, I2C_ANALOGFILTER_ENABLE) != HAL_OK)
  {
    Error_Handler();
  }

  /** Configure Digital filter
  */
  if (HAL_I2CEx_ConfigDigitalFilter(&hi2c1, 0) != HAL_OK)
  {
    Error_Handler();
  }

}

static void MX_TIM1_Init(void)
{

  TIM_ClockConfigTypeDef sClockSourceConfig = {0};
  TIM_MasterConfigTypeDef sMasterConfig = {0};

  htim1.Instance = TIM1;
  htim1.Init.Prescaler = 71;
  htim1.Init.CounterMode = TIM_COUNTERMODE_UP;
  htim1.Init.Period = 65535;
  htim1.Init.ClockDivision = TIM_CLOCKDIVISION_DIV1;
  htim1.Init.RepetitionCounter = 0;
  htim1.Init.AutoReloadPreload = TIM_AUTORELOAD_PRELOAD_DISABLE;
  if (HAL_TIM_Base_Init(&htim1) != HAL_OK)
  {
    Error_Handler();
  }
  sClockSourceConfig.ClockSource = TIM_CLOCKSOURCE_INTERNAL;
  if (HAL_TIM_ConfigClockSource(&htim1, &sClockSourceConfig) != HAL_OK)
  {
    Error_Handler();
  }
  sMasterConfig.MasterOutputTrigger = TIM_TRGO_RESET;
  sMasterConfig.MasterOutputTrigger2 = TIM_TRGO2_RESET;
  sMasterConfig.MasterSlaveMode = TIM_MASTERSLAVEMODE_DISABLE;
  if (HAL_TIMEx_MasterConfigSynchronization(&htim1, &sMasterConfig) != HAL_OK)
  {
    Error_Handler();
  }

}

static void MX_TIM2_Init(void)
{

  TIM_ClockConfigTypeDef sClockSourceConfig = {0};
  TIM_MasterConfigTypeDef sMasterConfig = {0};
  TIM_OC_InitTypeDef sConfigOC = {0};

  htim2.Instance = TIM2;
  htim2.Init.Prescaler = 127;
  htim2.Init.CounterMode = TIM_COUNTERMODE_UP;
  htim2.Init.Period = 625;
  htim2.Init.ClockDivision = TIM_CLOCKDIVISION_DIV1;
  htim2.Init.AutoReloadPreload = TIM_AUTORELOAD_PRELOAD_DISABLE;
  if (HAL_TIM_Base_Init(&htim2) != HAL_OK)
  {
    Error_Handler();
  }
  sClockSourceConfig.ClockSource = TIM_CLOCKSOURCE_INTERNAL;
  if (HAL_TIM_ConfigClockSource(&htim2, &sClockSourceConfig) != HAL_OK)
  {
    Error_Handler();
  }
  if (HAL_TIM_PWM_Init(&htim2) != HAL_OK)
  {
    Error_Handler();
  }
  sMasterConfig.MasterOutputTrigger = TIM_TRGO_RESET;
  sMasterConfig.MasterSlaveMode = TIM_MASTERSLAVEMODE_DISABLE;
  if (HAL_TIMEx_MasterConfigSynchronization(&htim2, &sMasterConfig) != HAL_OK)
  {
    Error_Handler();
  }
  sConfigOC.OCMode = TIM_OCMODE_PWM1;
  sConfigOC.Pulse = 0;
  sConfigOC.OCPolarity = TIM_OCPOLARITY_HIGH;
  sConfigOC.OCFastMode = TIM_OCFAST_DISABLE;
  if (HAL_TIM_PWM_ConfigChannel(&htim2, &sConfigOC, TIM_CHANNEL_2) != HAL_OK)
  {
    Error_Handler();
  }
  HAL_TIM_MspPostInit(&htim2);

}

static void MX_TIM4_Init(void)
{

  TIM_ClockConfigTypeDef sClockSourceConfig = {0};
  TIM_MasterConfigTypeDef sMasterConfig = {0};

  htim4.Instance = TIM4;
  htim4.Init.Prescaler = 0;
  htim4.Init.CounterMode = TIM_COUNTERMODE_UP;
  htim4.Init.Period = 65535;
  htim4.Init.ClockDivision = TIM_CLOCKDIVISION_DIV1;
  htim4.Init.AutoReloadPreload = TIM_AUTORELOAD_PRELOAD_DISABLE;
  if (HAL_TIM_Base_Init(&htim4) != HAL_OK)
  {
    Error_Handler();
  }
  sClockSourceConfig.ClockSource = TIM_CLOCKSOURCE_INTERNAL;
  if (HAL_TIM_ConfigClockSource(&htim4, &sClockSourceConfig) != HAL_OK)
  {
    Error_Handler();
  }
  sMasterConfig.MasterOutputTrigger = TIM_TRGO_RESET;
  sMasterConfig.MasterSlaveMode = TIM_MASTERSLAVEMODE_DISABLE;
  if (HAL_TIMEx_MasterConfigSynchronization(&htim4, &sMasterConfig) != HAL_OK)
  {
    Error_Handler();
  }

}

static void MX_USART2_UART_Init(void)
{

  huart2.Instance = USART2;
  huart2.Init.BaudRate = 115200;
  huart2.Init.WordLength = UART_WORDLENGTH_8B;
  huart2.Init.StopBits = UART_STOPBITS_1;
  huart2.Init.Parity = UART_PARITY_NONE;
  huart2.Init.Mode = UART_MODE_TX_RX;
  huart2.Init.HwFlowCtl = UART_HWCONTROL_NONE;
  huart2.Init.OverSampling = UART_OVERSAMPLING_16;
  huart2.Init.OneBitSampling = UART_ONE_BIT_SAMPLE_DISABLE;
  huart2.AdvancedInit.AdvFeatureInit = UART_ADVFEATURE_NO_INIT;
  if (HAL_UART_Init(&huart2) != HAL_OK)
  {
    Error_Handler();
  }

}

static void MX_GPIO_Init(void)
{
  GPIO_InitTypeDef GPIO_InitStruct = {0};

  /* GPIO Ports Clock Enable */
  __HAL_RCC_GPIOC_CLK_ENABLE();
  __HAL_RCC_GPIOH_CLK_ENABLE();
  __HAL_RCC_GPIOA_CLK_ENABLE();
  __HAL_RCC_GPIOB_CLK_ENABLE();

  /*Configure GPIO pin Output Level */
  HAL_GPIO_WritePin(GPIOC, SM_Pin|MB_Pin|GPIO_PIN_9, GPIO_PIN_RESET);

  /*Configure GPIO pin Output Level */
  HAL_GPIO_WritePin(GPIOA, LD2_Pin|D2_Pin|D3_Pin|SCLK_Pin
                          |SDI_Pin|F2_Pin|F1_Pin, GPIO_PIN_RESET);

  /*Configure GPIO pin Output Level */
  HAL_GPIO_WritePin(GPIOB, F4_Pin|F3_Pin|LCLK_Pin|D4_Pin, GPIO_PIN_RESET);

  /*Configure GPIO pin : B1_Pin */
  GPIO_InitStruct.Pin = B1_Pin;
  GPIO_InitStruct.Mode = GPIO_MODE_IT_FALLING;
  GPIO_InitStruct.Pull = GPIO_NOPULL;
  HAL_GPIO_Init(B1_GPIO_Port, &GPIO_InitStruct);

  /*Configure GPIO pins : SM_Pin MB_Pin PC9 */
  GPIO_InitStruct.Pin = SM_Pin|MB_Pin|GPIO_PIN_9;
  GPIO_InitStruct.Mode = GPIO_MODE_OUTPUT_PP;
  GPIO_InitStruct.Pull = GPIO_NOPULL;
  GPIO_InitStruct.Speed = GPIO_SPEED_FREQ_LOW;
  HAL_GPIO_Init(GPIOC, &GPIO_InitStruct);

  /*Configure GPIO pin : BTN2_Pin */
  GPIO_InitStruct.Pin = BTN2_Pin;
  GPIO_InitStruct.Mode = GPIO_MODE_INPUT;
  GPIO_InitStruct.Pull = GPIO_NOPULL;
  HAL_GPIO_Init(BTN2_GPIO_Port, &GPIO_InitStruct);

  /*Configure GPIO pins : LD2_Pin D2_Pin D3_Pin SCLK_Pin
                           SDI_Pin F2_Pin F1_Pin */
  GPIO_InitStruct.Pin = LD2_Pin|D2_Pin|D3_Pin|SCLK_Pin
                          |SDI_Pin|F2_Pin|F1_Pin;
  GPIO_InitStruct.Mode = GPIO_MODE_OUTPUT_PP;
  GPIO_InitStruct.Pull = GPIO_NOPULL;
  GPIO_InitStruct.Speed = GPIO_SPEED_FREQ_LOW;
  HAL_GPIO_Init(GPIOA, &GPIO_InitStruct);

  /*Configure GPIO pins : BTN1_Pin PC8 */
  GPIO_InitStruct.Pin = BTN1_Pin|GPIO_PIN_8;
  GPIO_InitStruct.Mode = GPIO_MODE_INPUT;
  GPIO_InitStruct.Pull = GPIO_NOPULL;
  HAL_GPIO_Init(GPIOC, &GPIO_InitStruct);

  /*Configure GPIO pins : C2_Pin C1_Pin C4_Pin C3_Pin */
  GPIO_InitStruct.Pin = C2_Pin|C1_Pin|C4_Pin|C3_Pin;
  GPIO_InitStruct.Mode = GPIO_MODE_INPUT;
  GPIO_InitStruct.Pull = GPIO_PULLUP;
  HAL_GPIO_Init(GPIOB, &GPIO_InitStruct);

  /*Configure GPIO pins : F4_Pin F3_Pin LCLK_Pin D4_Pin */
  GPIO_InitStruct.Pin = F4_Pin|F3_Pin|LCLK_Pin|D4_Pin;
  GPIO_InitStruct.Mode = GPIO_MODE_OUTPUT_PP;
  GPIO_InitStruct.Pull = GPIO_NOPULL;
  GPIO_InitStruct.Speed = GPIO_SPEED_FREQ_LOW;
  HAL_GPIO_Init(GPIOB, &GPIO_InitStruct);

}

void Error_Handler(void)
{
			__disable_irq();
			while (1) {
			}
}
